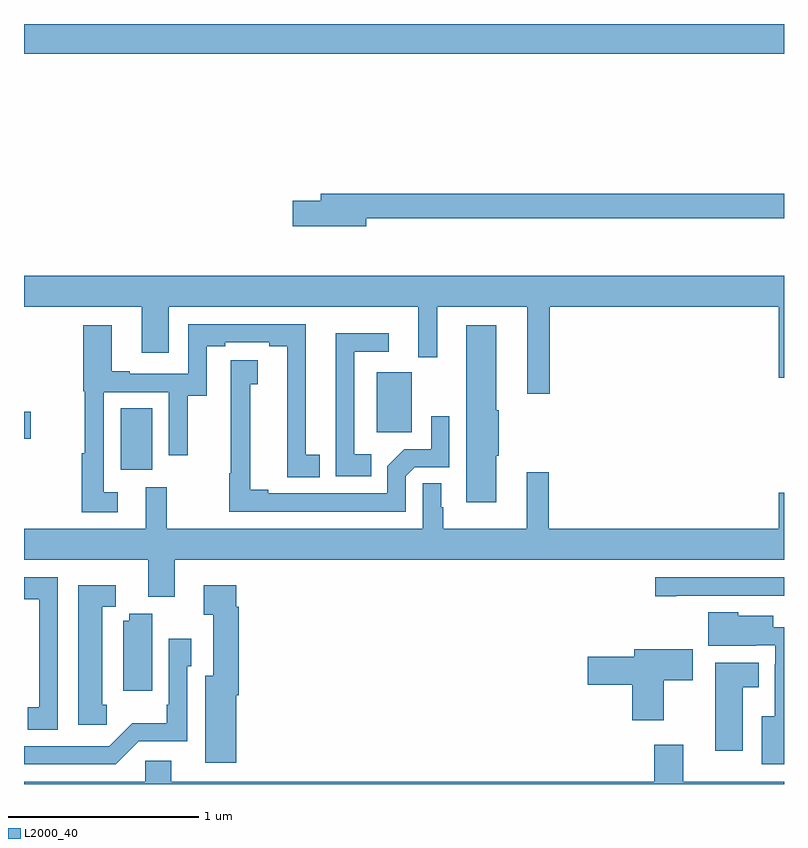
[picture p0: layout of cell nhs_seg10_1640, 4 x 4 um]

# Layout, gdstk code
import gdstk
lib = gdstk.Library(unit=1e-6, precision=1e-09)
def R(c, l, rs):  # rectangles x0, y0, x1, y1
    for r in rs: c.add(gdstk.rectangle(r[:2], r[2:], *l))
def P(c, l, *ps):  # polygons
    for p in ps: c.add(gdstk.Polygon(p, *l))
L2000_40 = (2000, 40)

nhs_seg10_1640 = lib.new_cell('nhs_seg10_1640')
R(nhs_seg10_1640, L2000_40, [(197.51,1270.155,197.674,1270.478), (197,1270.318,197.035,1270.46), (198.857,1270.352,199.042,1270.666), (197,1272.344,201,1272.5)])
P(nhs_seg10_1640, L2000_40, [(198.802,1271.478),(201,1271.478),(201,1271.606),(198.563,1271.606),(198.563,1271.57),(198.414,1271.57),(198.414,1271.435),(198.802,1271.435)],
  [(199.766,1271.012),(200.972,1271.012),(200.972,1270.638),(201,1270.638),(201,1271.176),(197,1271.176),(197,1271.012),(197.621,1271.012),(197.621,1270.77),(197.761,1270.77),(197.761,1271.012),(199.076,1271.012),(199.076,1270.746),(199.174,1270.746),(199.174,1271.012),(199.649,1271.012),(199.649,1270.554),(199.766,1270.554)],
  [(197.494,1270.035),(197.421,1270.035),(197.421,1270.563),(197.763,1270.563),(197.763,1270.23),(197.862,1270.23),(197.862,1270.543),(197.961,1270.543),(197.961,1270.804),(198.058,1270.804),(198.058,1270.824),(198.29,1270.824),(198.29,1270.804),(198.386,1270.804),(198.386,1270.114),(198.557,1270.114),(198.557,1270.233),(198.484,1270.233),(198.484,1270.92),(197.865,1270.92),(197.865,1270.659),(197.557,1270.659),(197.557,1270.672),(197.461,1270.672),(197.461,1270.915),(197.312,1270.915),(197.312,1270.566),(197.32,1270.566),(197.32,1270.242),(197.305,1270.242),(197.305,1269.93),(197.494,1269.93)],
  [(199.486,1270.228),(199.499,1270.228),(199.499,1270.466),(199.486,1270.466),(199.486,1270.915),(199.328,1270.915),(199.328,1269.984),(199.486,1269.984)],
  [(198.827,1270.235),(198.738,1270.235),(198.738,1270.776),(198.919,1270.776),(198.919,1270.873),(198.641,1270.873),(198.641,1270.322),(198.642,1270.322),(198.642,1270.119),(198.827,1270.119)],
  [(199.008,1270.119),(199.056,1270.167),(199.239,1270.167),(199.239,1270.435),(199.143,1270.435),(199.143,1270.263),(199.002,1270.263),(198.912,1270.173),(198.912,1270.029),(198.286,1270.029),(198.286,1270.049),(198.19,1270.049),(198.19,1270.604),(198.229,1270.604),(198.229,1270.729),(198.089,1270.729),(198.089,1270.136),(198.079,1270.136),(198.079,1269.933),(199.008,1269.933)],
  [(197.794,1269.68),(201,1269.68),(201,1270.033),(200.972,1270.033),(200.972,1269.844),(199.763,1269.844),(199.763,1270.141),(199.646,1270.141),(199.646,1269.844),(199.207,1269.844),(199.207,1269.957),(199.195,1269.957),(199.195,1270.082),(199.098,1270.082),(199.098,1269.844),(197.752,1269.844),(197.752,1270.063),(197.642,1270.063),(197.642,1269.844),(197,1269.844),(197,1269.68),(197.654,1269.68),(197.654,1269.486),(197.794,1269.486)],
  [(200.434,1269.492),(201,1269.492),(201,1269.588),(200.322,1269.588),(200.322,1269.487),(200.434,1269.487)],
  [(197.178,1269.588),(197,1269.588),(197,1269.472),(197.081,1269.472),(197.081,1269.209),(197.08,1269.209),(197.08,1268.905),(197.019,1268.905),(197.019,1268.785),(197.178,1268.785)],
  [(197.435,1268.916),(197.413,1268.916),(197.413,1269.432),(197.482,1269.432),(197.482,1269.547),(197.285,1269.547),(197.285,1268.811),(197.435,1268.811)],
  [(198.118,1268.966),(198.131,1268.966),(198.131,1269.434),(198.118,1269.434),(198.118,1269.547),(197.946,1269.547),(197.946,1269.391),(197.996,1269.391),(197.996,1269.07),(197.954,1269.07),(197.954,1268.613),(198.118,1268.613)],
  [(201,1269.324),(200.944,1269.324),(200.944,1269.385),(200.76,1269.385),(200.76,1269.403),(200.6,1269.403),(200.6,1269.227),(200.855,1269.227),(200.855,1269.231),(200.955,1269.231),(200.955,1269.131),(200.951,1269.131),(200.951,1268.857),(200.882,1268.857),(200.882,1268.603),(201,1268.603)],
  [(197.674,1269.395),(197.554,1269.395),(197.554,1269.358),(197.522,1269.358),(197.522,1268.991),(197.674,1268.991)],
  [(197.604,1268.724),(197.859,1268.724),(197.859,1269.12),(197.88,1269.12),(197.88,1269.265),(197.763,1269.265),(197.763,1268.917),(197.751,1268.917),(197.751,1268.821),(197.569,1268.821),(197.448,1268.7),(197,1268.7),(197,1268.604),(197.484,1268.604)],
  [(200.368,1269.046),(200.521,1269.046),(200.521,1269.208),(200.213,1269.208),(200.213,1269.17),(199.968,1269.17),(199.968,1269.023),(200.201,1269.023),(200.201,1268.835),(200.368,1268.835)],
  [(200.782,1269.008),(200.866,1269.008),(200.866,1269.139),(200.639,1269.139),(200.639,1268.676),(200.782,1268.676)],
  [(201,1268.512),(200.47,1268.512),(200.47,1268.707),(200.318,1268.707),(200.318,1268.512),(197.776,1268.512),(197.776,1268.622),(197.637,1268.622),(197.637,1268.512),(197,1268.512),(197,1268.5),(201,1268.5)])

lib.write_gds('nhs_seg10_1640.gds')
